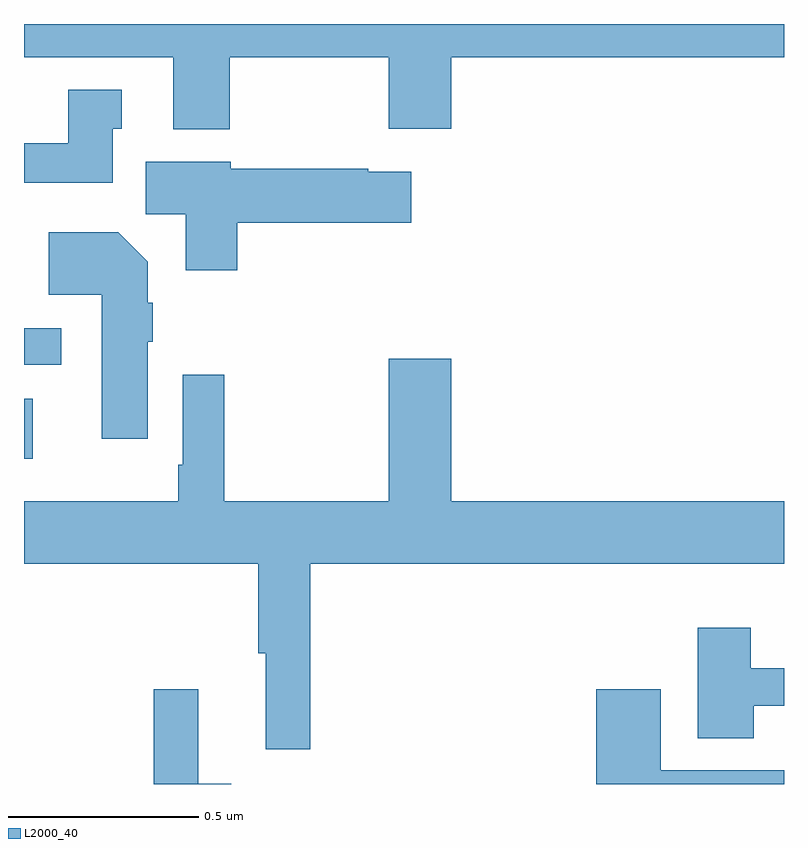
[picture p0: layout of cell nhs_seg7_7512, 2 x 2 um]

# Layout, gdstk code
import gdstk
lib = gdstk.Library(unit=1e-6, precision=1e-09)
def R(c, l, rs):  # rectangles x0, y0, x1, y1
    for r in rs: c.add(gdstk.rectangle(r[:2], r[2:], *l))
def P(c, l, *ps):  # polygons
    for p in ps: c.add(gdstk.Polygon(p, *l))
L2000_40 = (2000, 40)

nhs_seg7_7512 = lib.new_cell('nhs_seg7_7512')
R(nhs_seg7_7512, L2000_40, [(212,1036.856,212.023,1037.014), (212,1037.103,212.098,1037.199)])
P(nhs_seg7_7512, L2000_40, [(212.541,1037.912),(212.96,1037.912),(212.96,1037.724),(213.124,1037.724),(213.124,1037.912),(214,1037.912),(214,1038),(212,1038),(212,1037.912),(212.393,1037.912),(212.393,1037.723),(212.541,1037.723)],
  [(212.233,1037.724),(212.257,1037.724),(212.257,1037.827),(212.117,1037.827),(212.117,1037.686),(212,1037.686),(212,1037.582),(212.233,1037.582)],
  [(212.561,1037.477),(213.019,1037.477),(213.019,1037.611),(212.906,1037.611),(212.906,1037.619),(212.544,1037.619),(212.544,1037.638),(212.321,1037.638),(212.321,1037.5),(212.426,1037.5),(212.426,1037.352),(212.561,1037.352)],
  [(212.326,1037.164),(212.339,1037.164),(212.339,1037.267),(212.326,1037.267),(212.326,1037.374),(212.248,1037.452),(212.065,1037.452),(212.065,1037.288),(212.204,1037.288),(212.204,1036.908),(212.326,1036.908)],
  [(212.753,1036.58),(214,1036.58),(214,1036.744),(213.124,1036.744),(213.124,1037.119),(212.96,1037.119),(212.96,1036.744),(212.527,1036.744),(212.527,1037.077),(212.418,1037.077),(212.418,1036.84),(212.406,1036.84),(212.406,1036.744),(212,1036.744),(212,1036.58),(212.617,1036.58),(212.617,1036.344),(212.636,1036.344),(212.636,1036.092),(212.753,1036.092)],
  [(213.921,1036.206),(214,1036.206),(214,1036.305),(213.913,1036.305),(213.913,1036.411),(213.773,1036.411),(213.773,1036.121),(213.921,1036.121)],
  [(214,1036.036),(213.676,1036.036),(213.676,1036.249),(213.506,1036.249),(213.506,1036),(214,1036)],
  [(212.545,1036.001),(212.459,1036.001),(212.459,1036.249),(212.341,1036.249),(212.341,1036),(212.545,1036)])

lib.write_gds('nhs_seg7_7512.gds')
